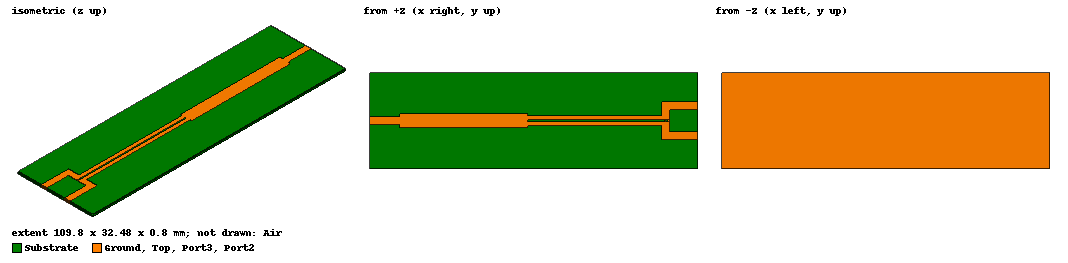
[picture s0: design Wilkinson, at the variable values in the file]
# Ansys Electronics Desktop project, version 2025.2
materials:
  vacuum: permittivity=1
  sub22: permittivity=2.2 dielectric_loss_tangent=0.0009
  air: permittivity=1.0006 permeability=1.0000004
  copper: permeability=0.999991 conductivity=58000000

design Wilkinson (HFSS, HFSS Hybrid Modal Network, model units mm)
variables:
  h = 0.8mm
  W1 = 4.831mm
  L1 = 42.97mm
  Wc = 1.44mm
  Sc = 0.48mm
  Lc = 44.873mm
  W50 = 2.46mm
  Lf = 10mm
  Ly = 6mm
  Lx = 12mm
  t_isl = 0.16mm
  Rv = 100ohm
  Lv = 8.634nH
  Cs = 2.934pF
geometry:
  Substrate [sub22] = box(corner=((-(L1+Lf)), -(Sc/2+Ly+10mm), 0mm), size=((Lc+Lx)-(-(L1+Lf)), 2*(Sc/2+Ly+10mm), h))
  Air [air] = box(corner=((-(L1+Lf))-15mm, -(Sc/2+Ly+10mm)-15mm, -15mm), size=((Lc+Lx)-(-(L1+Lf))+30mm, 2*(Sc/2+Ly+10mm)+30mm, h+45mm))
  Ground = rectangle(corner=((-(L1+Lf)), -(Sc/2+Ly+10mm), 0mm), x_size=(Lc+Lx)-(-(L1+Lf)), y_size=2*(Sc/2+Ly+10mm))
  Top = rectangle(corner=((-(L1+Lf)), -W50/2, h), x_size=Lf, y_size=W50)
  Trunk = rectangle(corner=(-L1, -W1/2, h), x_size=L1, y_size=W1)
  CupA = rectangle(corner=(0mm, Sc/2, h), x_size=Lc, y_size=Wc)
  CupB = rectangle(corner=(0mm, -Sc/2-Wc, h), x_size=Lc, y_size=Wc)
  RiseA = rectangle(corner=(Lc, Sc/2, h), x_size=W50, y_size=Ly)
  OutA = rectangle(corner=(Lc, Sc/2+Ly-W50, h), x_size=Lx, y_size=W50)
  RiseB = rectangle(corner=(Lc, -Sc/2-Ly, h), x_size=W50, y_size=Ly)
  OutB = rectangle(corner=(Lc, -Sc/2-Ly, h), x_size=Lx, y_size=W50)
  Top.unite(Trunk, CupA, CupB, RiseA, OutA, RiseB, OutB)
  Island = rectangle(corner=(Lc+W50/2-0.2mm, -t_isl/2, h), x_size=0.4mm, y_size=t_isl)
  R_iso = rectangle(corner=(Lc+W50-0.6mm, -Sc/2, h), x_size=0.6mm, y_size=Sc)
  L_iso = rectangle(corner=(Lc+W50/2-0.2mm, t_isl/2, h), x_size=0.4mm, y_size=Sc/2-t_isl/2)
  C_iso = rectangle(corner=(Lc+W50/2-0.2mm, -Sc/2, h), x_size=0.4mm, y_size=Sc/2-t_isl/2)
  Port1 = rectangle(corner=((-(L1+Lf)), 0mm-W50/2, 0mm), y_size=W50, z_size=h)
  Port2 = rectangle(corner=((Lc+Lx), (Sc/2+Ly-W50/2)-W50/2, 0mm), y_size=W50, z_size=h)
  Port3 = rectangle(corner=((Lc+Lx), (-Sc/2-Ly+W50/2)-W50/2, 0mm), y_size=W50, z_size=h)
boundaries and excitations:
  Cu: Finite Conductivity Objects=[Top, Island] UseMaterial Material=copper IsInternal
  GND: Perfect E Objects=Ground
  Rad: Radiation Objects=Air
  R: Lumped RLC Objects=R_iso CurrentLine{(47.033, 0.24, 0.8) -> (47.033, -0.24, 0.8)} RLC_Type=Parallel Resistance=Rv
  L: Lumped RLC Objects=L_iso CurrentLine{(46.103, 0.24, 0.8) -> (46.103, 0.08, 0.8)} RLC_Type=Parallel Inductance=Lv
  C: Lumped RLC Objects=C_iso CurrentLine{(46.103, -0.08, 0.8) -> (46.103, -0.24, 0.8)} RLC_Type=Parallel Capacitance=Cs
  P1: Lumped Port Objects=Port1 LumpedPortType=Modal Modes{Mode1{IntLine{(-52.97, 0, 0) -> (-52.97, 0, 0.8)} CharImp=Zpi RenormImp=50ohm}} Impedance=50ohm
  P2: Lumped Port Objects=Port2 LumpedPortType=Modal Modes{Mode1{IntLine{(56.873, 5.01, 0) -> (56.873, 5.01, 0.8)} CharImp=Zpi RenormImp=50ohm}} Impedance=50ohm
  P3: Lumped Port Objects=Port3 LumpedPortType=Modal Modes{Mode1{IntLine{(56.873, -5.01, 0) -> (56.873, -5.01, 0.8)} CharImp=Zpi RenormImp=50ohm}} Impedance=50ohm
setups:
  Setup1: HfssDriven Frequency=2GHz MaxDeltaS=0.01 MaximumPasses=15 MinimumPasses=3 MinimumConvergedPasses=2 PercentRefinement=30 BasisOrder=1 PortAccuracy=2 DrivenSolverType="Direct Solver"
    sweep Sweep1: 0.1GHz to 2.6GHz, 251 points; Type=Interpolating InterpTolerance=0.5 InterpMaxSolns=250 InterpUsePortImped=false PassivityErrorTolerance=0.0001
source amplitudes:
  P1:1: 1W 0deg
  P2:1, P3:1: 0W 0deg
